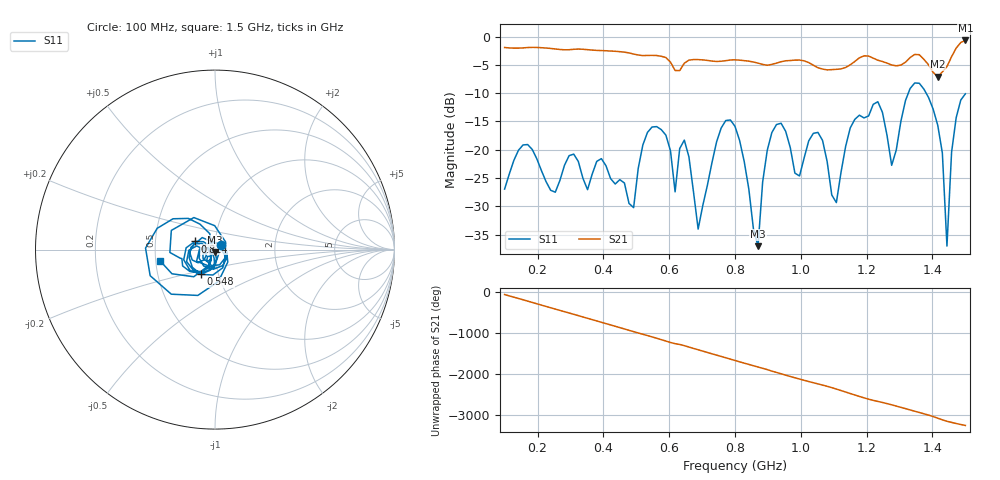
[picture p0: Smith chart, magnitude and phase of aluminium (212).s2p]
! NanoVNA-App
! Date: 2025-09-25 14:56:56
! Start: 100MHz Stop: 1,5GHz Points: 101
! S-Parameter data: F S11 S21 S12 S22
# Hz S RI R 50
!  Frequency  S11_Real  S11_Imag  S21_Real  S21_Imag  S12_Real  S12_Imag  S22_Real  S22_Imag
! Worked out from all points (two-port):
!   101 points, 100 MHz to 1.5 GHz, reference 50 ohm
!   highest |S21| = -0.67 dB at 1.5 GHz (marker M1); lowest = -7.1 dB at 1.416 GHz (marker M2)
!   |S21| within 3 dB of the highest: start of sweep to 588.9 MHz; 1.457 GHz to end of sweep (the widest 2 of 4)
!   lowest |S11| = -37.1 dB at 870 MHz (marker M3), VSWR 1.03, Z = 49.9 - j1.4 ohm
!   |S11| at or under -10 dB: start of sweep to 1.327 GHz; 1.381 GHz to end of sweep
!   S12 and S22 are empty: the file has one direction only
!   S11 on the Smith chart (normalised r, x): 100 MHz: 1.07, +0.06; 548 MHz: 0.82, -0.23; 814 MHz: 0.80, +0.07; 1.5 GHz: 0.53, -0.07
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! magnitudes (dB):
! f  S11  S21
! 100 MHz  -27.0  -1.9
! 338 MHz  -25.1  -2.2
! 492 MHz  -30.2  -3.1
! 548 MHz  -16.0  -3.3
! 576 MHz  -16.4  -3.5
! 618 MHz  -27.5  -6.0
! 646 MHz  -18.3  -4.7
! 688 MHz  -34.0  -4.1
! 800 MHz  -15.9  -4.1
! 814 MHz  -18.4  -4.2
! 870 MHz  -37.1  -4.7
! 912 MHz  -17.0  -4.9
! 996 MHz  -24.6  -4.1
! 1.038 GHz  -17.1  -5.0
! 1.108 GHz  -29.3  -5.8
! 1.22 GHz  -12.0  -3.8
! 1.276 GHz  -22.8  -5.0
! 1.346 GHz  -8.2  -3.1
! 1.416 GHz  -15.7  -7.1
! 1.444 GHz  -37.0  -5.3
! 1.458 GHz  -20.5  -3.5
! 1.5 GHz  -10.1  -0.7
